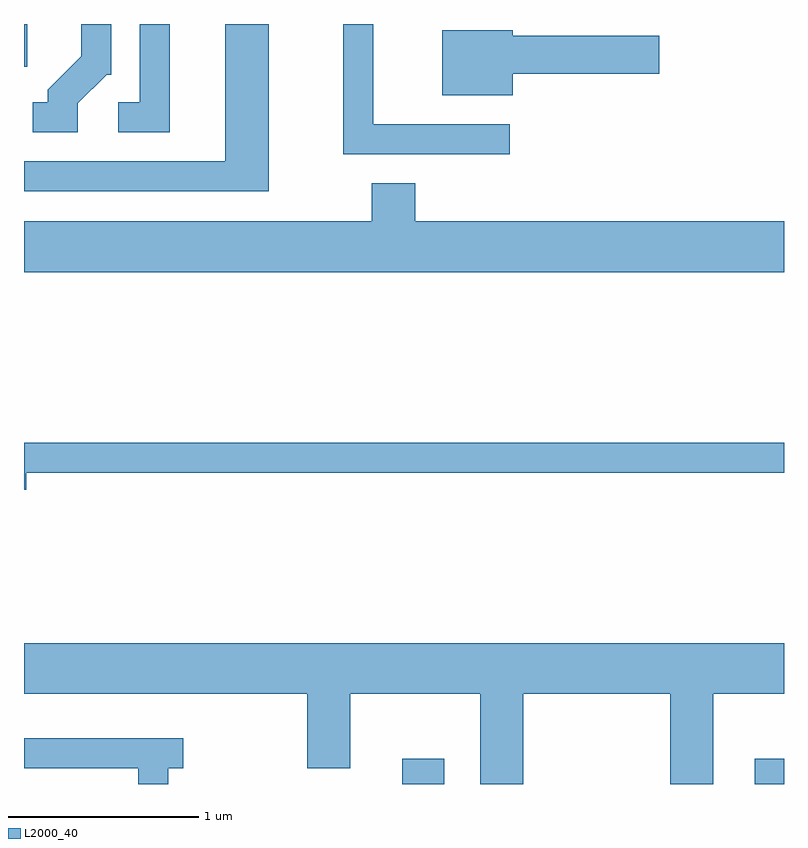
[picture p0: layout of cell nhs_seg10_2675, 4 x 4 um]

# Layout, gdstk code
import gdstk
lib = gdstk.Library(unit=1e-6, precision=1e-09)
def R(c, l, rs):  # rectangles x0, y0, x1, y1
    for r in rs: c.add(gdstk.rectangle(r[:2], r[2:], *l))
def P(c, l, *ps):  # polygons
    for p in ps: c.add(gdstk.Polygon(p, *l))
L2000_40 = (2000, 40)

nhs_seg10_2675 = lib.new_cell('nhs_seg10_2675')
R(nhs_seg10_2675, L2000_40, [(265.601,2144.522,265.824,2144.654), (267.456,2144.522,267.611,2144.654), (263.611,2148.296,263.629,2148.522)])
P(nhs_seg10_2675, L2000_40, [(264.379,2148.522),(264.221,2148.522),(264.221,2148.109),(264.108,2148.109),(264.108,2147.951),(264.379,2147.951)],
  [(266.168,2147.994),(265.449,2147.994),(265.449,2148.522),(265.291,2148.522),(265.291,2147.836),(266.168,2147.836)],
  [(264.899,2148.522),(264.671,2148.522),(264.671,2147.799),(263.611,2147.799),(263.611,2147.641),(264.899,2147.641)],
  [(263.894,2148.104),(264.047,2148.256),(264.069,2148.256),(264.069,2148.522),(263.911,2148.522),(263.911,2148.352),(263.736,2148.177),(263.736,2148.109),(263.658,2148.109),(263.658,2147.951),(263.894,2147.951)],
  [(266.184,2148.261),(266.954,2148.261),(266.954,2148.459),(266.184,2148.459),(266.184,2148.489),(265.811,2148.489),(265.811,2148.146),(266.184,2148.146)],
  [(267.611,2147.484),(265.669,2147.484),(265.669,2147.684),(265.441,2147.684),(265.441,2147.484),(263.611,2147.484),(263.611,2147.216),(267.611,2147.216)],
  [(263.624,2146.161),(267.611,2146.161),(267.611,2146.319),(263.611,2146.319),(263.611,2146.071),(263.624,2146.071)],
  [(266.239,2144.996),(267.011,2144.996),(267.011,2144.522),(267.239,2144.522),(267.239,2144.996),(267.611,2144.996),(267.611,2145.264),(263.611,2145.264),(263.611,2144.996),(265.101,2144.996),(265.101,2144.606),(265.329,2144.606),(265.329,2144.996),(266.011,2144.996),(266.011,2144.522),(266.239,2144.522)],
  [(264.369,2144.606),(264.448,2144.606),(264.448,2144.764),(263.611,2144.764),(263.611,2144.606),(264.211,2144.606),(264.211,2144.522),(264.369,2144.522)])

lib.write_gds('nhs_seg10_2675.gds')
